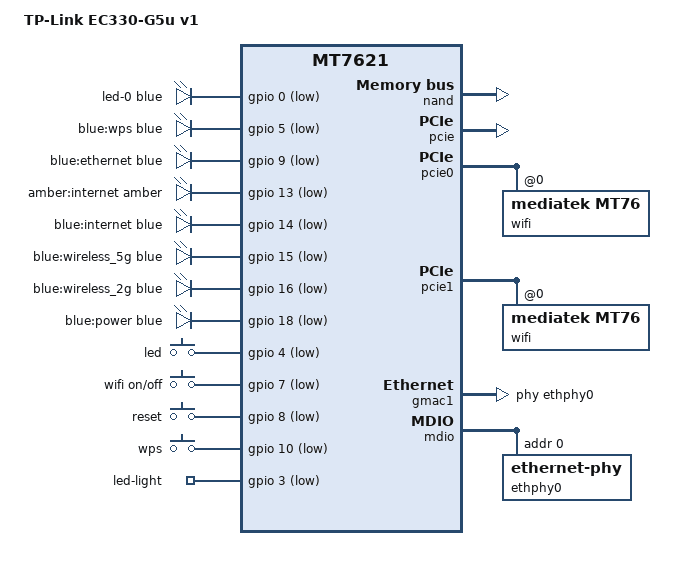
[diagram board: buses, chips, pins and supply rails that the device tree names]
// SPDX-License-Identifier: GPL-2.0-or-later OR MIT

#include "mt7621.dtsi"

#include <dt-bindings/gpio/gpio.h>
#include <dt-bindings/input/input.h>
#include <dt-bindings/leds/common.h>

/ {
	compatible = "tplink,ec330-g5u-v1", "mediatek,mt7621-soc";
	model = "TP-Link EC330-G5u v1";

	aliases {
		led-boot = &led_power;
		led-failsafe = &led_power;
		led-running = &led_power;
		led-upgrade = &led_power;
	};

	chosen {
		bootargs = "console=ttyS0,115200";
	};

	leds {
		compatible = "gpio-leds";

		led-0 {
			color = <LED_COLOR_ID_BLUE>;
			function = LED_FUNCTION_USB;
			function-enumerator = <0>;
			gpios = <&gpio 0 GPIO_ACTIVE_LOW>;
			trigger-sources = <&xhci_ehci_port1>;
			linux,default-trigger = "usbport";
		};

		led-1 {
			label = "blue:wps";
			color = <LED_COLOR_ID_BLUE>;
			function = LED_FUNCTION_WPS;
			function-enumerator = <0>;
			gpios = <&gpio 5 GPIO_ACTIVE_LOW>;
		};

		led-2 {
			label = "blue:ethernet";
			color = <LED_COLOR_ID_BLUE>;
			function = LED_FUNCTION_LAN;
			function-enumerator = <0>;
			gpios = <&gpio 9 GPIO_ACTIVE_LOW>;
		};

		led-3 {
			label = "amber:internet";
			color = <LED_COLOR_ID_AMBER>;
			function = LED_FUNCTION_WAN;
			function-enumerator = <0>;
			gpios = <&gpio 13 GPIO_ACTIVE_LOW>;
		};

		led-4 {
			label = "blue:internet";
			color = <LED_COLOR_ID_BLUE>;
			function = LED_FUNCTION_WAN;
			function-enumerator = <1>;
			gpios = <&gpio 14 GPIO_ACTIVE_LOW>;
		};

		led-5 {
			label = "blue:wireless_5g";
			color = <LED_COLOR_ID_BLUE>;
			function = LED_FUNCTION_WLAN;
			function-enumerator = <0>;
			gpios = <&gpio 15 GPIO_ACTIVE_LOW>;
			linux,default-trigger = "phy1radio";
		};

		led-6 {
			label = "blue:wireless_2g";
			color = <LED_COLOR_ID_BLUE>;
			function = LED_FUNCTION_WLAN;
			function-enumerator = <1>;
			gpios = <&gpio 16 GPIO_ACTIVE_LOW>;
			linux,default-trigger = "phy0radio";
		};

		led_power: led-7 {
			label = "blue:power";
			color = <LED_COLOR_ID_BLUE>;
			function = LED_FUNCTION_STATUS;
			function-enumerator = <0>;
			gpios = <&gpio 18 GPIO_ACTIVE_LOW>;
		};
	};

	keys {
		compatible = "gpio-keys";

		led {
			label = "led";
			gpios = <&gpio 4 GPIO_ACTIVE_LOW>;
			debounce-interval = <60>;
			linux,code = <KEY_LIGHTS_TOGGLE>;
		};

		wifi {
			label = "wifi on/off";
			gpios = <&gpio 7 GPIO_ACTIVE_LOW>;
			debounce-interval = <60>;
			linux,code = <KEY_RFKILL>;
		};

		reset {
			label = "reset";
			gpios = <&gpio 8 GPIO_ACTIVE_LOW>;
			debounce-interval = <60>;
			linux,code = <KEY_RESTART>;
		};

		wps {
			label = "wps";
			gpios = <&gpio 10 GPIO_ACTIVE_LOW>;
			debounce-interval = <60>;
			linux,code = <KEY_WPS_BUTTON>;
		};
	};

	gpio-export {
		compatible = "gpio-export";

		led-light {
			gpio-export,name = "led-light";
			gpio-export,output = <0>;
			gpios = <&gpio 3 GPIO_ACTIVE_LOW>;
		};
	};

	ubi-concat {
		compatible = "mtd-concat";
		devices = <&ubiconcat0 &ubiconcat1>;

		partitions {
			compatible = "fixed-partitions";
			#address-cells = <1>;
			#size-cells = <1>;

			partition@0 {
				label = "ubi";
				reg = <0x0 0x3c00000>;
			};
		};
	};
};

&nand {
	status = "okay";

	partitions {
		compatible = "fixed-partitions";
		#address-cells = <1>;
		#size-cells = <1>;

		partition@0 {
			label = "u-boot";
			reg = <0x0 0x400000>;
			read-only;

			compatible = "fixed-partitions";
			#address-cells = <1>;
			#size-cells = <1>;

			partition@0 {
				label = "u-boot-first";
				reg = <0x0 0x20000>;
				read-only;
			};

			partition@20000 {
				label = "u-boot-main";
				reg = <0x20000 0x40000>;
				read-only;
			};

			partition@60000 {
				label = "u-boot-main-reserve";
				reg = <0x60000 0x40000>;
				read-only;
			};
		};

		partition@400000 {
			label = "os0";
			reg = <0x400000 0x3000000>;

			compatible = "fixed-partitions";
			#address-cells = <1>;
			#size-cells = <1>;

			partition@0 {
				label = "kernel";
				reg = <0x0 0x400000>;
			};

			ubiconcat0: partition@400000 {
				label = "ubi-os0";
				reg = <0x400000 0x2c00000>;
			};
		};

		partition@3400000 {
			label = "os1";
			reg = <0x3400000 0x3000000>;
			read-only;
		};

		ubiconcat1: partition@6400000 {
			label = "userfs";
			reg = <0x6400000 0x1000000>;
		};

		partition@7400000 {
			label = "u-boot-env";
			reg = <0x7400000 0x400000>;
		};

		factory: partition@7800000 {
			label = "factory";
			reg = <0x7800000 0x400000>;
			read-only;
		};

		partition@0_wholeflash {
			label = "wholeflash";
			reg = <0x0 0x7f80000>;
			read-only;
		};
	};
};

&pcie {
	status = "okay";
};

&pcie0 {
	wifi@0,0 {
		compatible = "mediatek,mt76";
		reg = <0x0000 0 0 0 0>;
		mediatek,mtd-eeprom = <&factory 0x8000>;
		ieee80211-freq-limit = <2400000 2500000>;
	};
};

&pcie1 {
	wifi@0,0 {
		compatible = "mediatek,mt76";
		reg = <0x0000 0 0 0 0>;
		mediatek,mtd-eeprom = <&factory 0x14000>;
		ieee80211-freq-limit = <5000000 6000000>;
	};
};

&gmac1 {
	status = "okay";
	label = "wan";
	phy-handle = <&ethphy0>;
};

&mdio {
	ethphy0: ethernet-phy@0 {
		reg = <0>;
	};
};

&switch0 {
	ports {
		port@1 {
			status = "okay";
			label = "lan1";
		};

		port@2 {
			status = "okay";
			label = "lan2";
		};

		port@3 {
			status = "okay";
			label = "lan3";
		};

		port@4 {
			status = "okay";
			label = "lan4";
		};
	};
};

&state_default {
	gpio {
		groups = "i2c", "jtag", "uart2", "uart3", "wdt";
		function = "gpio";
	};
};
